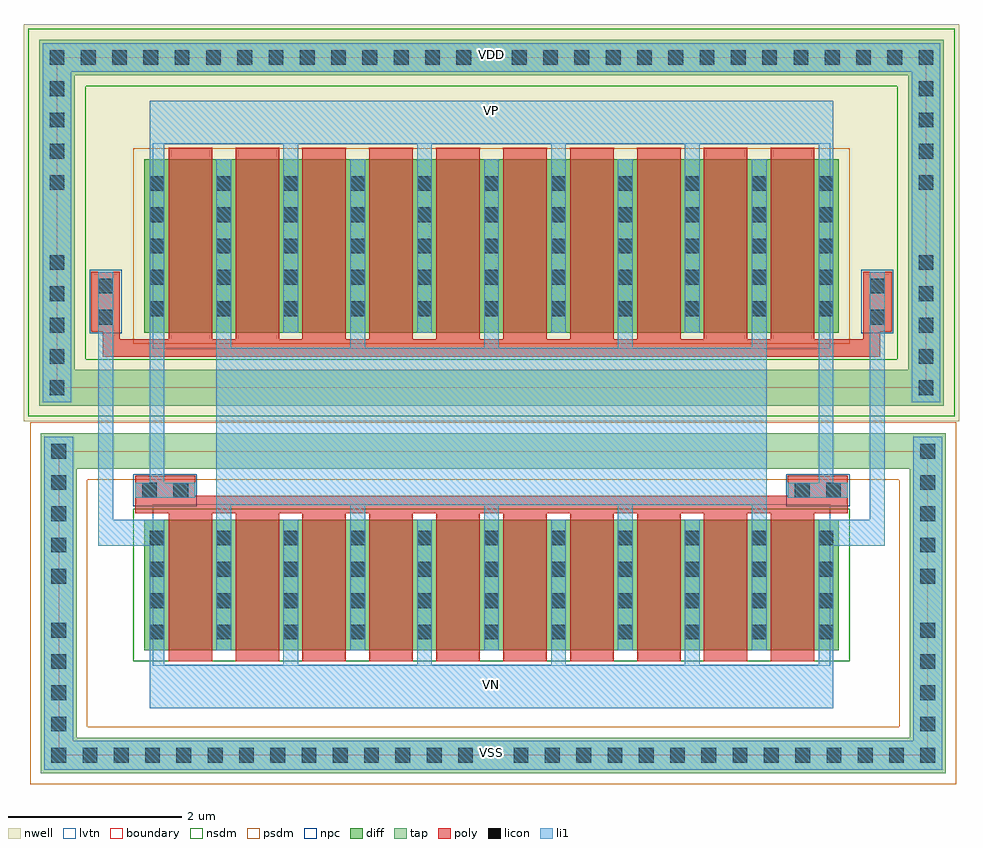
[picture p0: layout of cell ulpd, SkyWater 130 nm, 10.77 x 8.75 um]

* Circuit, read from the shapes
.subckt ulpd VDD VN VP VSS
XM1 n1 VP VN VSS sky130_fd_pr__nfet_01v8_lvt w=1.5 l=0.5 m=10
XM2 n1 VN VP VDD sky130_fd_pr__pfet_01v8_lvt w=2 l=0.5 m=10
.ends

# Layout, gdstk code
from math import pi, radians
import gdstk
lib = gdstk.Library(unit=1e-6, precision=1e-09)
def R(c, l, rs):  # rectangles x0, y0, x1, y1
    for r in rs: c.add(gdstk.rectangle(r[:2], r[2:], *l))
def A(c, l, x, y, w, h, nx, ny, dx, dy):  # array of equal rectangles
    R(c, l, [(x+i*dx, y+j*dy, x+i*dx+w, y+j*dy+h) for i in range(nx) for j in range(ny)])
nwell = (64, 20)
diff = (65, 20)
tap = (65, 44)
poly = (66, 20)
licon = (66, 44)
li1 = (67, 20)
nsdm = (93, 44)
psdm = (94, 20)
npc = (95, 20)
lvtn = (125, 44)
boundary = (235, 4)

mosfet_6 = lib.new_cell('MOSFET$6')
R(mosfet_6, nwell, [(-0.325,-0.18,8.025,2.18)])
A(mosfet_6, diff, 0.77, 0, 0.77, 2, 8, 1, 0.77, 0)
R(mosfet_6, diff, [(-0.145,0,0.77,2), (6.93,0,7.845,2)])
A(mosfet_6, poly, 0.135, -0.13, 0.5, 2.205, 10, 1, 0.77, 0)
R(mosfet_6, poly, [(0.135,2.075,7.565,2.275)])
A(mosfet_6, licon, -0.085, 0.195, 0.17, 0.17, 11, 5, 0.77, 0.36)
A(mosfet_6, li1, -0.085, -0.17, 0.17, 2.17, 6, 1, 1.54, 0)
A(mosfet_6, li1, -0.085, 0, 0.17, 2, 11, 1, 0.77, 0)
A(mosfet_6, li1, 0.685, 0, 0.17, 2.17, 5, 1, 1.54, 0)
R(mosfet_6, li1, [(-0.085,-0.67,7.785,-0.17), (0.685,2.17,7.015,2.67)])
R(mosfet_6, psdm, [(-0.27,-0.125,7.97,2.125)])
R(mosfet_6, lvtn, [(-0.045,-0.18,7.745,2.18)])
R(mosfet_6, boundary, [(0,0,7.7,2)])

contact_4 = lib.new_cell('Contact$4')
R(contact_4, poly, [(-0.345,-0.165,0.345,0.165)])
R(contact_4, licon, [(-0.265,-0.085,-0.095,0.085), (0.095,-0.085,0.265,0.085)])
R(contact_4, li1, [(-0.345,-0.085,0.345,0.085)])
R(contact_4, npc, [(-0.365,-0.185,0.365,0.185)])

contact_7 = lib.new_cell('Contact$7')
R(contact_7, nwell, [(-5.385,-2.285,5.385,-1.515), (-5.385,-2.285,-4.615,2.285), (4.615,-2.285,5.385,2.285), (-5,-1.9,5,1.9), (-5.385,1.515,5.385,2.285)])
R(contact_7, tap, [(-5.205,-2.105,5.205,-1.695), (-5.205,-2.105,-4.795,2.105), (4.795,-2.105,5.205,2.105), (-5.205,1.695,5.205,2.105)])
A(contact_7, licon, -5.085, -1.985, 0.17, 0.17, 1, 5, 0, 0.36)
A(contact_7, licon, 4.915, -1.985, 0.17, 0.17, 1, 5, 0, 0.36)
A(contact_7, licon, -5.085, 0.375, 0.17, 0.17, 1, 5, 0, 0.36)
A(contact_7, licon, 4.915, 0.375, 0.17, 0.17, 1, 5, 0, 0.36)
A(contact_7, licon, -5.085, 1.815, 0.17, 0.17, 14, 1, 0.36, 0)
A(contact_7, licon, 0.235, 1.815, 0.17, 0.17, 14, 1, 0.36, 0)
R(contact_7, li1, [(-5.165,-2.065,-4.835,2.065), (4.835,-2.065,5.165,2.065), (-5.165,1.735,5.165,2.065)])
R(contact_7, nsdm, [(-5.33,-2.23,5.33,-1.57), (-5.33,-2.23,-4.67,2.23), (4.67,-2.23,5.33,2.23), (-5.33,1.57,5.33,2.23)])
R(contact_7, boundary, [(-5,-1.9,5,1.9)])

contact_6 = lib.new_cell('Contact$6')
R(contact_6, tap, [(-5.205,-1.955,5.205,-1.545), (-5.205,-1.955,-4.795,1.955), (4.795,-1.955,5.205,1.955), (-5.205,1.545,5.205,1.955)])
A(contact_6, licon, -5.085, -1.835, 0.17, 0.17, 1, 5, 0, 0.36)
A(contact_6, licon, 4.915, -1.835, 0.17, 0.17, 1, 5, 0, 0.36)
A(contact_6, licon, -5.085, 0.225, 0.17, 0.17, 1, 5, 0, 0.36)
A(contact_6, licon, 4.915, 0.225, 0.17, 0.17, 1, 5, 0, 0.36)
A(contact_6, licon, -5.085, 1.665, 0.17, 0.17, 14, 1, 0.36, 0)
A(contact_6, licon, 0.235, 1.665, 0.17, 0.17, 14, 1, 0.36, 0)
R(contact_6, li1, [(-5.165,-1.915,-4.835,1.915), (4.835,-1.915,5.165,1.915), (-5.165,1.585,5.165,1.915)])
R(contact_6, psdm, [(-5.33,-2.08,5.33,-1.42), (-5.33,-2.08,-4.67,2.08), (4.67,-2.08,5.33,2.08), (-5.33,1.42,5.33,2.08)])
R(contact_6, boundary, [(-5,-1.75,5,1.75)])

mosfet_5 = lib.new_cell('MOSFET$5')
A(mosfet_5, diff, 0.77, 0, 0.77, 1.5, 8, 1, 0.77, 0)
R(mosfet_5, diff, [(-0.145,0,0.77,1.5), (6.93,0,7.845,1.5)])
A(mosfet_5, poly, 0.135, -0.13, 0.5, 1.705, 10, 1, 0.77, 0)
R(mosfet_5, poly, [(0.135,1.575,7.565,1.775)])
A(mosfet_5, licon, -0.085, 0.125, 0.17, 0.17, 11, 4, 0.77, 0.36)
A(mosfet_5, li1, -0.085, -0.17, 0.17, 1.67, 6, 1, 1.54, 0)
A(mosfet_5, li1, -0.085, 0, 0.17, 1.5, 11, 1, 0.77, 0)
A(mosfet_5, li1, 0.685, 0, 0.17, 1.67, 5, 1, 1.54, 0)
R(mosfet_5, li1, [(-0.085,-0.67,7.785,-0.17), (0.685,1.67,7.015,2.17)])
R(mosfet_5, nsdm, [(-0.27,-0.125,7.97,1.625)])
R(mosfet_5, lvtn, [(-0.045,-0.18,7.745,1.68)])
R(mosfet_5, boundary, [(0,0,7.7,1.5)])

ulpd = lib.new_cell('ulpd')
R(ulpd, poly, [(-4.1,-1.405,-3.41,-1.05), (3.41,-1.405,4.1,-1.05)])
R(ulpd, li1, [(-4.47,-1.78,-3.935,-1.48), (3.935,-1.78,4.47,-1.48), (-3.935,-1.055,-3.765,0.855), (3.765,-1.055,3.935,0.855), (-3.165,-0.81,3.165,0)])
ulpd.add(gdstk.FlexPath([(-3.605,0.495),(-4.375,0.495),(-4.375,0.805)], 0.2, ends="flush", simple_path=True, layer=66, datatype=20))  # poly
ulpd.add(gdstk.FlexPath([(3.605,0.495),(4.375,0.495),(4.375,0.805)], 0.2, ends="flush", simple_path=True, layer=66, datatype=20))  # poly
ulpd.add(gdstk.FlexPath([(4.44,0.745),(4.44,-1.78)], 0.17, ends="flush", simple_path=True, layer=67, datatype=20))  # li1
ulpd.add(gdstk.FlexPath([(-4.44,0.745),(-4.44,-1.78)], 0.17, ends="flush", simple_path=True, layer=67, datatype=20))  # li1
ulpd.add(gdstk.Reference(mosfet_6, (-3.85,2.67), x_reflection=True))
ulpd.add(gdstk.Reference(contact_4, (-4.44,1.03), rotation=pi/2))
ulpd.add(gdstk.Reference(contact_4, (4.44,1.03), rotation=pi/2, x_reflection=True))
ulpd.add(gdstk.Reference(contact_7, (0,1.94)))
ulpd.add(gdstk.Reference(contact_6, (0.02,-2.44), x_reflection=True))
ulpd.add(gdstk.Reference(contact_4, (-3.755,-1.14)))
ulpd.add(gdstk.Reference(contact_4, (3.755,-1.14)))
ulpd.add(gdstk.Reference(mosfet_5, (-3.85,-2.98)))
ulpd.add(gdstk.Label('VDD', (0,3.875), layer=67, texttype=5))
ulpd.add(gdstk.Label('VP', (0,3.225), layer=67, texttype=5))
ulpd.add(gdstk.Label('VN', (0,-3.38), layer=67, texttype=5))
ulpd.add(gdstk.Label('VSS', (0,-4.155), layer=67, texttype=5))

lib.write_gds('ulpd.gds')
